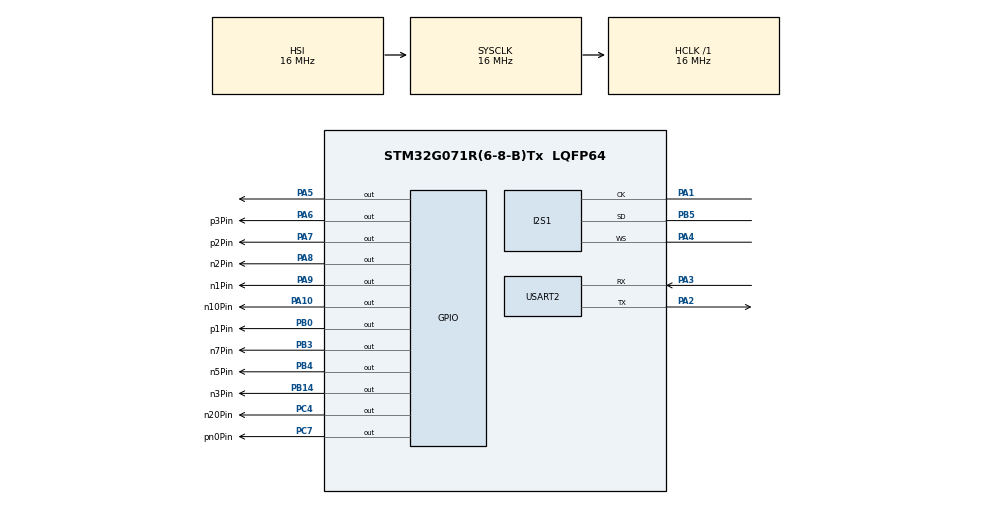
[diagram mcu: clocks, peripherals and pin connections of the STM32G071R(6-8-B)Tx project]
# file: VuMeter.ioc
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Dma.Request0=SPI1_RX
Dma.SPI1_RX.0.Direction=DMA_PERIPH_TO_MEMORY
Dma.SPI1_RX.0.EventEnable=DISABLE
Dma.SPI1_RX.0.Instance=DMA1_Channel1
Dma.SPI1_RX.0.MemDataAlignment=DMA_MDATAALIGN_HALFWORD
Dma.SPI1_RX.0.MemInc=DMA_MINC_ENABLE
Dma.SPI1_RX.0.Mode=DMA_CIRCULAR
Dma.SPI1_RX.0.PeriphDataAlignment=DMA_PDATAALIGN_HALFWORD
Dma.SPI1_RX.0.PeriphInc=DMA_PINC_DISABLE
Dma.SPI1_RX.0.Polarity=HAL_DMAMUX_REQ_GEN_RISING
Dma.SPI1_RX.0.Priority=DMA_PRIORITY_LOW
Dma.SPI1_RX.0.RequestNumber=1
Dma.SPI1_RX.0.SignalID=NONE
Dma.SPI1_RX.0.SyncEnable=DISABLE
Dma.SPI1_RX.0.SyncPolarity=HAL_DMAMUX_SYNC_NO_EVENT
Dma.SPI1_RX.0.SyncRequestNumber=1
Dma.SPI1_RX.0.SyncSignalID=NONE
I2S1.AudioFreq=I2S_AUDIOFREQ_44K
I2S1.DataFormat=I2S_DATAFORMAT_24B
I2S1.ErrorAudioFreq=-5.3 %
I2S1.FullDuplexMode=I2S_FULLDUPLEXMODE_DISABLE
I2S1.Instance=SPI$Index
I2S1.Mode=I2S_MODE_SLAVE_RX
I2S1.RealAudioFreq=41.666 KHz
I2S1.VirtualMode=I2S_MODE_SLAVE
Mcu.Family=STM32G0
Mcu.Name=STM32G071R(6-8-B)Tx
Mcu.Package=LQFP64
NVIC.DMA1_Channel1_IRQn=true\:0\:0\:false\:false\:true\:false\:true
NVIC.TIM14_IRQn=true\:0\:0\:false\:false\:true\:true\:true
PA1.Mode=Half_Duplex_Slave
PA1.Signal=I2S1_CK
PA10.GPIO_Label=n10Pin
PA10.Signal=GPIO_Output
PA2.Mode=Asynchronous
PA2.Signal=USART2_TX
PA3.Mode=Asynchronous
PA3.Signal=USART2_RX
PA4.Mode=Half_Duplex_Slave
PA4.Signal=I2S1_WS
PA5.Signal=GPIO_Output
PA6.GPIO_Label=p3Pin
PA6.Signal=GPIO_Output
PA7.GPIO_Label=p2Pin
PA7.Signal=GPIO_Output
PA8.GPIO_Label=n2Pin
PA8.Signal=GPIO_Output
PA9.GPIO_Label=n1Pin
PA9.Signal=GPIO_Output
PB0.GPIO_Label=p1Pin
PB0.Signal=GPIO_Output
PB14.GPIO_Label=n3Pin
PB14.Signal=GPIO_Output
PB3.GPIO_Label=n7Pin
PB3.Signal=GPIO_Output
PB4.GPIO_Label=n5Pin
PB4.Signal=GPIO_Output
PB5.Mode=Half_Duplex_Slave
PB5.Signal=I2S1_SD
PC4.GPIO_Label=n20Pin
PC4.Signal=GPIO_Output
PC7.GPIO_Label=pn0Pin
PC7.Signal=GPIO_Output
ProjectManager.HeapSize=0x200
ProjectManager.StackSize=0x400
ProjectManager.TargetToolchain=STM32CubeIDE
RCC.AHBFreq_Value=16000000
RCC.CortexFreq_Value=16000000
RCC.EXTERNAL_CLOCK_VALUE=48000
RCC.HCLKFreq_Value=16000000
RCC.HSE_VALUE=8000000
RCC.HSI_VALUE=16000000
RCC.LSE_VALUE=32768
RCC.SYSCLKFreq_VALUE=16000000
RCC.VCOOutputFreq_Value=128000000
TIM14.Period=49
TIM14.Prescaler=16000
USART2.VirtualMode-Asynchronous=VM_ASYNC
VP_SYS_VS_DBSignals.Mode=DisableDeadBatterySignals
VP_TIM14_VS_ClockSourceINT.Mode=Enable_Timer
board=NUCLEO-G071RB

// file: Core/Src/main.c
/* USER CODE BEGIN Header */
/**
  ******************************************************************************
  * @file           : main.c
  * @brief          : Main program body
  ******************************************************************************
  * @attention
  *
  * <h2><center>&copy; Copyright (c) 2020 STMicroelectronics.
  * All rights reserved.</center></h2>
  *
  * This software component is licensed by ST under BSD 3-Clause license,
  * the "License"; You may not use this file except in compliance with the
  * License. You may obtain a copy of the License at:
  *                        opensource.org/licenses/BSD-3-Clause
  *
  ******************************************************************************
  */
/* USER CODE END Header */

#include "main.h"

/* USER CODE BEGIN Includes */
#include <stdio.h>
#include <stdlib.h>
#include <math.h>
#include <stdbool.h>
/* USER CODE END Includes */

/* USER CODE BEGIN PD */
#define P3_THRESHOLD		10800000
#define P2_THRESHOLD		9500000
#define P1_THRESHOLD		8500000
#define PN0_THRESHOLD		7500000
#define N1_THRESHOLD		6800000
#define N2_THRESHOLD		6000000
#define N3_THRESHOLD		5250000
#define N5_THRESHOLD		4250000
#define N7_THRESHOLD		3350000
#define N10_THRESHOLD		2350000
#define N20_THRESHOLD		734000
/* USER CODE END PD */

I2S_HandleTypeDef hi2s1;
DMA_HandleTypeDef hdma_spi1_rx;

TIM_HandleTypeDef htim14;

UART_HandleTypeDef huart2;

/* USER CODE BEGIN PV */
uint16_t rxBuffer[8];
uint64_t lSamplePeakAcc;
uint64_t rSamplePeakAcc;
uint16_t counter = 0;
bool output = false;
bool block = false;
/* USER CODE END PV */

void SystemClock_Config(void);
static void MX_GPIO_Init(void);
static void MX_DMA_Init(void);
static void MX_I2S1_Init(void);
static void MX_TIM14_Init(void);
static void MX_USART2_UART_Init(void);
/* USER CODE BEGIN PFP */
static void int2buf(uint8_t *buf, uint32_t num, char *chn);
static bool storeSample();
static void startupLeds();
static void setLeds(uint32_t rmsValue);
/* USER CODE END PFP */

int main(void)
{

  /* MCU Configuration--------------------------------------------------------*/

  /* Reset of all peripherals, Initializes the Flash interface and the Systick. */
  HAL_Init();

  /* Configure the system clock */
  SystemClock_Config();

  /* Initialize all configured peripherals */
  MX_GPIO_Init();
  MX_DMA_Init();
  MX_I2S1_Init();
  MX_TIM14_Init();
  MX_USART2_UART_Init();
  /* USER CODE BEGIN 2 */
  startupLeds();

  HAL_I2S_Receive_DMA(&hi2s1, rxBuffer, 4);
  HAL_TIM_Base_Start_IT(&htim14);
  /* USER CODE END 2 */

  /* Infinite loop */
  /* USER CODE BEGIN WHILE */
  while (1)
  {
		if (output) {
			block = true;
			uint16_t tempCounter = counter;
			uint64_t lTempAcc = lSamplePeakAcc;
			uint64_t rTempAcc = lSamplePeakAcc;
			counter = 0;
			lSamplePeakAcc = 0;
			rSamplePeakAcc = 0;
			block = false;

			uint32_t lPeak = lTempAcc / tempCounter;
			uint32_t rPeak = rTempAcc / tempCounter;

			setLeds(lPeak);
			output = false;

			// Send data via UART2
			uint8_t buffer[11] = {"0"};
      int2buf(buffer, lPeak, "L");
      HAL_UART_Transmit(&huart2, buffer, sizeof(buffer)/sizeof(*buffer), 0xFF);
      int2buf(buffer, rPeak, "R");
      HAL_UART_Transmit(&huart2, buffer, sizeof(buffer)/sizeof(*buffer), 0xFF);
		}
    /* USER CODE END WHILE */

  }
}

void SystemClock_Config(void)
{
  RCC_OscInitTypeDef RCC_OscInitStruct = {0};
  RCC_ClkInitTypeDef RCC_ClkInitStruct = {0};
  RCC_PeriphCLKInitTypeDef PeriphClkInit = {0};

  /** Configure the main internal regulator output voltage
  */
  HAL_PWREx_ControlVoltageScaling(PWR_REGULATOR_VOLTAGE_SCALE1);
  /** Initializes the CPU, AHB and APB busses clocks
  */
  RCC_OscInitStruct.OscillatorType = RCC_OSCILLATORTYPE_HSI;
  RCC_OscInitStruct.HSIState = RCC_HSI_ON;
  RCC_OscInitStruct.HSIDiv = RCC_HSI_DIV1;
  RCC_OscInitStruct.HSICalibrationValue = RCC_HSICALIBRATION_DEFAULT;
  RCC_OscInitStruct.PLL.PLLState = RCC_PLL_NONE;
  if (HAL_RCC_OscConfig(&RCC_OscInitStruct) != HAL_OK)
  {
    Error_Handler();
  }
  /** Initializes the CPU, AHB and APB busses clocks
  */
  RCC_ClkInitStruct.ClockType = RCC_CLOCKTYPE_HCLK|RCC_CLOCKTYPE_SYSCLK
                              |RCC_CLOCKTYPE_PCLK1;
  RCC_ClkInitStruct.SYSCLKSource = RCC_SYSCLKSOURCE_HSI;
  RCC_ClkInitStruct.AHBCLKDivider = RCC_SYSCLK_DIV1;
  RCC_ClkInitStruct.APB1CLKDivider = RCC_HCLK_DIV1;

  if (HAL_RCC_ClockConfig(&RCC_ClkInitStruct, FLASH_LATENCY_0) != HAL_OK)
  {
    Error_Handler();
  }
  /** Initializes the peripherals clocks
  */
  PeriphClkInit.PeriphClockSelection = RCC_PERIPHCLK_USART2|RCC_PERIPHCLK_I2S1;
  PeriphClkInit.Usart2ClockSelection = RCC_USART2CLKSOURCE_PCLK1;
  PeriphClkInit.I2s1ClockSelection = RCC_I2S1CLKSOURCE_SYSCLK;
  if (HAL_RCCEx_PeriphCLKConfig(&PeriphClkInit) != HAL_OK)
  {
    Error_Handler();
  }
}

static void MX_I2S1_Init(void)
{

  hi2s1.Instance = SPI1;
  hi2s1.Init.Mode = I2S_MODE_SLAVE_RX;
  hi2s1.Init.Standard = I2S_STANDARD_PHILIPS;
  hi2s1.Init.DataFormat = I2S_DATAFORMAT_24B;
  hi2s1.Init.MCLKOutput = I2S_MCLKOUTPUT_DISABLE;
  hi2s1.Init.AudioFreq = I2S_AUDIOFREQ_44K;
  hi2s1.Init.CPOL = I2S_CPOL_LOW;
  if (HAL_I2S_Init(&hi2s1) != HAL_OK)
  {
    Error_Handler();
  }

}

static void MX_TIM14_Init(void)
{

  htim14.Instance = TIM14;
  htim14.Init.Prescaler = 16000;
  htim14.Init.CounterMode = TIM_COUNTERMODE_UP;
  htim14.Init.Period = 49;
  htim14.Init.ClockDivision = TIM_CLOCKDIVISION_DIV1;
  htim14.Init.AutoReloadPreload = TIM_AUTORELOAD_PRELOAD_DISABLE;
  if (HAL_TIM_Base_Init(&htim14) != HAL_OK)
  {
    Error_Handler();
  }

}

static void MX_USART2_UART_Init(void)
{

  huart2.Instance = USART2;
  huart2.Init.BaudRate = 115200;
  huart2.Init.WordLength = UART_WORDLENGTH_8B;
  huart2.Init.StopBits = UART_STOPBITS_1;
  huart2.Init.Parity = UART_PARITY_NONE;
  huart2.Init.Mode = UART_MODE_TX_RX;
  huart2.Init.HwFlowCtl = UART_HWCONTROL_NONE;
  huart2.Init.OverSampling = UART_OVERSAMPLING_16;
  huart2.Init.OneBitSampling = UART_ONE_BIT_SAMPLE_DISABLE;
  huart2.Init.ClockPrescaler = UART_PRESCALER_DIV1;
  huart2.AdvancedInit.AdvFeatureInit = UART_ADVFEATURE_NO_INIT;
  if (HAL_UART_Init(&huart2) != HAL_OK)
  {
    Error_Handler();
  }
  if (HAL_UARTEx_SetTxFifoThreshold(&huart2, UART_TXFIFO_THRESHOLD_1_8) != HAL_OK)
  {
    Error_Handler();
  }
  if (HAL_UARTEx_SetRxFifoThreshold(&huart2, UART_RXFIFO_THRESHOLD_1_8) != HAL_OK)
  {
    Error_Handler();
  }
  if (HAL_UARTEx_DisableFifoMode(&huart2) != HAL_OK)
  {
    Error_Handler();
  }

}

static void MX_DMA_Init(void)
{

  /* DMA controller clock enable */
  __HAL_RCC_DMA1_CLK_ENABLE();

  /* DMA interrupt init */
  /* DMA1_Channel1_IRQn interrupt configuration */
  HAL_NVIC_SetPriority(DMA1_Channel1_IRQn, 0, 0);
  HAL_NVIC_EnableIRQ(DMA1_Channel1_IRQn);

}

static void MX_GPIO_Init(void)
{
  GPIO_InitTypeDef GPIO_InitStruct = {0};

  /* GPIO Ports Clock Enable */
  __HAL_RCC_GPIOA_CLK_ENABLE();
  __HAL_RCC_GPIOC_CLK_ENABLE();
  __HAL_RCC_GPIOB_CLK_ENABLE();

  /*Configure GPIO pin Output Level */
  HAL_GPIO_WritePin(GPIOA, GPIO_PIN_5|p3Pin_Pin|p2Pin_Pin|n2Pin_Pin
                          |n1Pin_Pin|n10Pin_Pin, GPIO_PIN_RESET);

  /*Configure GPIO pin Output Level */
  HAL_GPIO_WritePin(GPIOC, n20Pin_Pin|pn0Pin_Pin, GPIO_PIN_RESET);

  /*Configure GPIO pin Output Level */
  HAL_GPIO_WritePin(GPIOB, p1Pin_Pin|n3Pin_Pin|n7Pin_Pin|n5Pin_Pin, GPIO_PIN_RESET);

  /*Configure GPIO pins : PA5 p3Pin_Pin p2Pin_Pin n2Pin_Pin
                           n1Pin_Pin n10Pin_Pin */
  GPIO_InitStruct.Pin = GPIO_PIN_5|p3Pin_Pin|p2Pin_Pin|n2Pin_Pin
                          |n1Pin_Pin|n10Pin_Pin;
  GPIO_InitStruct.Mode = GPIO_MODE_OUTPUT_PP;
  GPIO_InitStruct.Pull = GPIO_NOPULL;
  GPIO_InitStruct.Speed = GPIO_SPEED_FREQ_LOW;
  HAL_GPIO_Init(GPIOA, &GPIO_InitStruct);

  /*Configure GPIO pins : n20Pin_Pin pn0Pin_Pin */
  GPIO_InitStruct.Pin = n20Pin_Pin|pn0Pin_Pin;
  GPIO_InitStruct.Mode = GPIO_MODE_OUTPUT_PP;
  GPIO_InitStruct.Pull = GPIO_NOPULL;
  GPIO_InitStruct.Speed = GPIO_SPEED_FREQ_LOW;
  HAL_GPIO_Init(GPIOC, &GPIO_InitStruct);

  /*Configure GPIO pins : p1Pin_Pin n3Pin_Pin n7Pin_Pin n5Pin_Pin */
  GPIO_InitStruct.Pin = p1Pin_Pin|n3Pin_Pin|n7Pin_Pin|n5Pin_Pin;
  GPIO_InitStruct.Mode = GPIO_MODE_OUTPUT_PP;
  GPIO_InitStruct.Pull = GPIO_NOPULL;
  GPIO_InitStruct.Speed = GPIO_SPEED_FREQ_LOW;
  HAL_GPIO_Init(GPIOB, &GPIO_InitStruct);

}

/* USER CODE BEGIN 4 */
static inline void int2buf(uint8_t *buf, uint32_t num, char *chn) {
  // Set channel indicator
  buf[0] = *chn;
  sprintf(buf+1, "%8ul", num);
}

static bool storeSample() {
  int32_t lSample = (int32_t) (rxBuffer[0] << 16) | rxBuffer[1];
  int32_t rSample = (int32_t) (rxBuffer[2] << 16) | rxBuffer[3];

  lSample = abs(lSample >> 6);
  rSample = abs(rSample >> 6);

//  if (lSample > lSamplePeak) {
//  	lSamplePeak = lSample;
//  }
//
//  if (rSample > rSamplePeak) {
//    rSamplePeak = rSample;
//	}

  lSamplePeakAcc += lSample;
  rSamplePeakAcc += rSample;
  counter++;

  if (lSample != 0 || rSample != 0) {
    return true;
  } else {
  	return false;
  }
}

static void startupLeds() {
	uint8_t delay = 100;
  HAL_GPIO_WritePin(GPIOC, n20Pin_Pin, GPIO_PIN_SET);
	HAL_Delay(delay);
  HAL_GPIO_WritePin(GPIOA, n10Pin_Pin, GPIO_PIN_SET);
  HAL_Delay(delay);
  HAL_GPIO_WritePin(GPIOB, n7Pin_Pin, GPIO_PIN_SET);
	HAL_Delay(delay);
  HAL_GPIO_WritePin(GPIOB, n5Pin_Pin, GPIO_PIN_SET);
	HAL_Delay(delay);
  HAL_GPIO_WritePin(GPIOB, n3Pin_Pin, GPIO_PIN_SET);
	HAL_Delay(delay);
  HAL_GPIO_WritePin(GPIOA, n2Pin_Pin, GPIO_PIN_SET);
	HAL_Delay(delay);
  HAL_GPIO_WritePin(GPIOA, n1Pin_Pin, GPIO_PIN_SET);
	HAL_Delay(delay);
  HAL_GPIO_WritePin(GPIOC, pn0Pin_Pin, GPIO_PIN_SET);
	HAL_Delay(delay);
  HAL_GPIO_WritePin(GPIOB, p1Pin_Pin, GPIO_PIN_SET);
	HAL_Delay(delay);
  HAL_GPIO_WritePin(GPIOA, p2Pin_Pin, GPIO_PIN_SET);
	HAL_Delay(delay);
  HAL_GPIO_WritePin(GPIOA, p3Pin_Pin, GPIO_PIN_SET);
	HAL_Delay(delay);
  HAL_GPIO_WritePin(GPIOA, p3Pin_Pin|p2Pin_Pin|n2Pin_Pin|n1Pin_Pin|n10Pin_Pin, GPIO_PIN_RESET);
  HAL_GPIO_WritePin(GPIOC, n20Pin_Pin|pn0Pin_Pin, GPIO_PIN_RESET);
  HAL_GPIO_WritePin(GPIOB, p1Pin_Pin|n3Pin_Pin|n7Pin_Pin|n5Pin_Pin, GPIO_PIN_RESET);
}

static void setLeds(uint32_t rmsValue) {
  HAL_GPIO_WritePin(GPIOA, p3Pin_Pin|p2Pin_Pin|n2Pin_Pin|n1Pin_Pin|n10Pin_Pin, GPIO_PIN_RESET);
  HAL_GPIO_WritePin(GPIOC, n20Pin_Pin|pn0Pin_Pin, GPIO_PIN_RESET);
  HAL_GPIO_WritePin(GPIOB, p1Pin_Pin|n3Pin_Pin|n7Pin_Pin|n5Pin_Pin, GPIO_PIN_RESET);

  if (rmsValue >= P3_THRESHOLD) {
      HAL_GPIO_WritePin(GPIOA, p3Pin_Pin|p2Pin_Pin|n2Pin_Pin|n1Pin_Pin|n10Pin_Pin, GPIO_PIN_SET);
      HAL_GPIO_WritePin(GPIOC, n20Pin_Pin|pn0Pin_Pin, GPIO_PIN_SET);
      HAL_GPIO_WritePin(GPIOB, p1Pin_Pin|n3Pin_Pin|n7Pin_Pin|n5Pin_Pin, GPIO_PIN_SET);
  } else if (rmsValue >= P2_THRESHOLD) {
      HAL_GPIO_WritePin(GPIOA, p2Pin_Pin|n2Pin_Pin|n1Pin_Pin|n10Pin_Pin, GPIO_PIN_SET);
      HAL_GPIO_WritePin(GPIOC, n20Pin_Pin|pn0Pin_Pin, GPIO_PIN_SET);
      HAL_GPIO_WritePin(GPIOB, p1Pin_Pin|n3Pin_Pin|n7Pin_Pin|n5Pin_Pin, GPIO_PIN_SET);
  } else if (rmsValue >= P1_THRESHOLD) {
      HAL_GPIO_WritePin(GPIOA, n2Pin_Pin|n1Pin_Pin|n10Pin_Pin, GPIO_PIN_SET);
      HAL_GPIO_WritePin(GPIOC, n20Pin_Pin|pn0Pin_Pin, GPIO_PIN_SET);
      HAL_GPIO_WritePin(GPIOB, p1Pin_Pin|n3Pin_Pin|n7Pin_Pin|n5Pin_Pin, GPIO_PIN_SET);
  } else if (rmsValue >= PN0_THRESHOLD) {
      HAL_GPIO_WritePin(GPIOA, n2Pin_Pin|n1Pin_Pin|n10Pin_Pin, GPIO_PIN_SET);
      HAL_GPIO_WritePin(GPIOC, n20Pin_Pin|pn0Pin_Pin, GPIO_PIN_SET);
      HAL_GPIO_WritePin(GPIOB, n3Pin_Pin|n7Pin_Pin|n5Pin_Pin, GPIO_PIN_SET);
  } else if (rmsValue >= N1_THRESHOLD) {
      HAL_GPIO_WritePin(GPIOA, n2Pin_Pin|n1Pin_Pin|n10Pin_Pin, GPIO_PIN_SET);
      HAL_GPIO_WritePin(GPIOC, n20Pin_Pin, GPIO_PIN_SET);
      HAL_GPIO_WritePin(GPIOB, n3Pin_Pin|n7Pin_Pin|n5Pin_Pin, GPIO_PIN_SET);
  } else if (rmsValue >= N2_THRESHOLD) {
      HAL_GPIO_WritePin(GPIOA, n2Pin_Pin|n10Pin_Pin, GPIO_PIN_SET);
      HAL_GPIO_WritePin(GPIOC, n20Pin_Pin, GPIO_PIN_SET);
      HAL_GPIO_WritePin(GPIOB, n3Pin_Pin|n7Pin_Pin|n5Pin_Pin, GPIO_PIN_SET);
  } else if (rmsValue >= N3_THRESHOLD) {
      HAL_GPIO_WritePin(GPIOA, n10Pin_Pin, GPIO_PIN_SET);
      HAL_GPIO_WritePin(GPIOC, n20Pin_Pin, GPIO_PIN_SET);
      HAL_GPIO_WritePin(GPIOB, n3Pin_Pin|n7Pin_Pin|n5Pin_Pin, GPIO_PIN_SET);
  } else if (rmsValue >= N5_THRESHOLD) {
      HAL_GPIO_WritePin(GPIOA, n10Pin_Pin, GPIO_PIN_SET);
      HAL_GPIO_WritePin(GPIOC, n20Pin_Pin, GPIO_PIN_SET);
      HAL_GPIO_WritePin(GPIOB, n7Pin_Pin|n5Pin_Pin, GPIO_PIN_SET);
  } else if (rmsValue >= N7_THRESHOLD) {
      HAL_GPIO_WritePin(GPIOA, n10Pin_Pin, GPIO_PIN_SET);
      HAL_GPIO_WritePin(GPIOC, n20Pin_Pin, GPIO_PIN_SET);
      HAL_GPIO_WritePin(GPIOB, n7Pin_Pin, GPIO_PIN_SET);
  } else if (rmsValue >= N10_THRESHOLD) {
      HAL_GPIO_WritePin(GPIOA, n10Pin_Pin, GPIO_PIN_SET);
      HAL_GPIO_WritePin(GPIOC, n20Pin_Pin, GPIO_PIN_SET);
  } else if (rmsValue >= N20_THRESHOLD) {
      HAL_GPIO_WritePin(GPIOC, n20Pin_Pin, GPIO_PIN_SET);
  } else {
  	return;
  }
}

void HAL_I2S_RxHalfCpltCallback (I2S_HandleTypeDef *hi2s) {
	if (block) { return; }

  bool led = storeSample();

  if (led) {
  	GPIOA->ODR |= GPIO_PIN_5;
  }
}

void HAL_I2S_RxCpltCallback(I2S_HandleTypeDef *hi2s) {
	if (block) { return; }

	bool led = storeSample();

  if (led) {
  	GPIOA->ODR &= ~GPIO_PIN_5;
  }
}

void HAL_TIM_PeriodElapsedCallback(TIM_HandleTypeDef *htim)
{
    if (htim->Instance==TIM14) {
    	output = true;
		}
}
/* USER CODE END 4 */

void Error_Handler(void)
{
}

/************************ (C) COPYRIGHT STMicroelectronics *****END OF FILE****/
